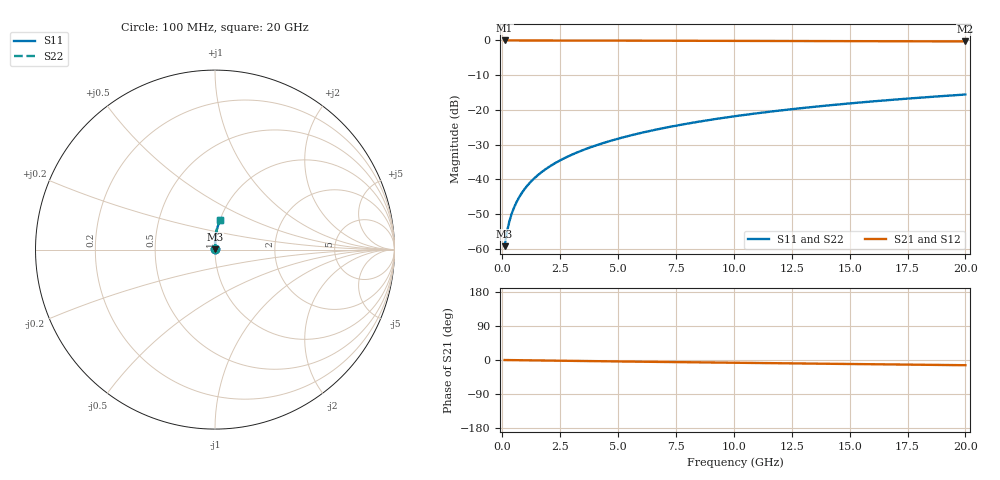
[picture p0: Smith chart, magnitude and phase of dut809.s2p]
! Touchstone file exported from HFSS 2024.1.0
!  File:  C:/UserFiles/LocalFiles/RDL_TSV_Batchsim/temp_RDL_top_809_1779854042.aedt
!  Generated:  11:56:30 AM May 27, 2026
!  Design:  RDL_top
!  Project:  temp_RDL_top_809_1779854042
!  Setup:  Setup1
!  Solution:  Sweep
! Variables:
!  dtsv = 10.80580581um
!  hbump = 3um
!  htsv = 59.37um
!  ldown = 100um
!  lrdl = 148.85um
!  p = 40
!  p1 = 55.93um
!  rhole = 1um
!  t = 450um
!  tdown = 3.915915916um
!  trdl = 4.24um
!  wdown = 15.38538539um
!  wrdl = 21.45um
# GHz S MA R 50.000000
! Terminal data exported
! Port[1] = Box2_T1
! Port[2] = Box2_T2
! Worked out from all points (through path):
!   200 points, 100 MHz to 20 GHz, reference 50 ohm
!   highest |S21| = -0.01 dB at 100 MHz (marker M1); lowest = -0.3 dB at 20 GHz (marker M2)
!   group delay of S21, straight-line fit = 1.89 ps
!   lowest |S11| = -59.2 dB at 100 MHz (marker M3), VSWR 1.00, Z = 50.1 + j0.0796 ohm
!   |S11| at or under -10 dB: start of sweep to end of sweep
!   |S22| runs from -59.2 to -15.6 dB; largest |S21 - S12| = 3.4e-15
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0.1  0.001098 46.3  0.9992 -0.1  0.9992 -0.1  0.001098 46.3
! Gamma 0 0 0 0
! Port Impedance 50 0 50 0
0.2  0.001754 63.2  0.9992 -0.2  0.9992 -0.2  0.001754 63.2
0.3  0.002458 70.5  0.9992 -0.2  0.9992 -0.2  0.002458 70.5
0.4  0.003172 74.6  0.9991 -0.3  0.9991 -0.3  0.003172 74.6
0.5  0.003892 77.4  0.9991 -0.4  0.9991 -0.4  0.003892 77.4
0.7  0.005347 80.8  0.999 -0.6  0.999 -0.6  0.005347 80.8
0.8  0.00608 81.9  0.9989 -0.6  0.9989 -0.6  0.00608 81.9
1  0.007555 83.5  0.9988 -0.8  0.9988 -0.8  0.007555 83.5
1.2  0.009039 84.7  0.9987 -0.9  0.9987 -0.9  0.009039 84.7
1.4  0.01053 85.5  0.9986 -1.1  0.9986 -1.1  0.01053 85.5
1.7  0.01278 86.5  0.9984 -1.3  0.9984 -1.3  0.01278 86.5
2  0.01504 87.1  0.9981 -1.6  0.9981 -1.6  0.01504 87.1
2.7  0.02039 88.1  0.9974 -2.1  0.9974 -2.1  0.02039 88.1
3.5  0.0266 88.8  0.9963 -2.7  0.9963 -2.7  0.0266 88.8
4.2  0.03214 89.1  0.9953 -3.2  0.9953 -3.2  0.03214 89.1
5  0.03859 89.2  0.994 -3.8  0.994 -3.8  0.03859 89.2
6.8  0.05349 88.9  0.9909 -5.1  0.9909 -5.1  0.05349 88.9
8.4  0.0671 88.2  0.9881 -6.2  0.9881 -6.2  0.0671 88.2
10.1  0.08176 87.2  0.9851 -7.3  0.9851 -7.3  0.08176 87.2
13.4  0.1104 84.9  0.9795 -9.5  0.9795 -9.5  0.1104 84.9
16.7  0.1388 82.4  0.9738 -11.6  0.9738 -11.6  0.1388 82.4
20  0.1667 80.0  0.9679 -13.8  0.9679 -13.8  0.1667 80.0
